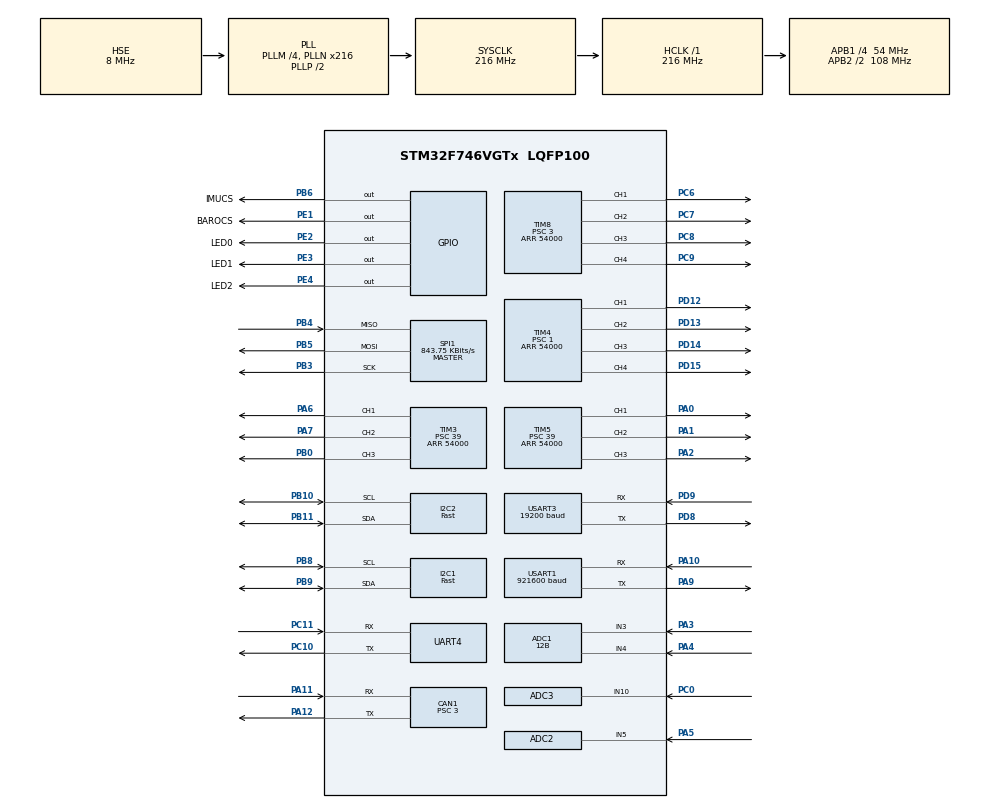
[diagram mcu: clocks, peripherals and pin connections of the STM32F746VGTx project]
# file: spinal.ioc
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Dma.USART1_TX.2.Direction=DMA_MEMORY_TO_PERIPH
NVIC.CAN1_RX1_IRQn=true\:6\:0\:true\:true\:true\:1\:false\:true\:true
CAN1.NART=ENABLE
Dma.USART3_RX.1.Mode=DMA_CIRCULAR
PE4.GPIO_ModeDefaultOutputPP=GPIO_MODE_OUTPUT_OD
I2C1.I2C_Speed_Mode=I2C_Fast
SPI1.VirtualType=VM_MASTER
PB10.Mode=I2C
USART1.WordLength=WORDLENGTH_8B
CORTEX_M7.PREFETCH_ENABLE=1
PB6.GPIO_Label=IMUCS
TIM8.Channel-PWM\ Generation4\ CH4=TIM_CHANNEL_4
RCC.SYSCLKSource=RCC_SYSCLKSOURCE_PLLCLK
USART3.VirtualMode-Asynchronous=VM_ASYNC
USART3.BaudRate=19200
Dma.USART3_RX.1.Instance=DMA1_Stream1
SPI1.Direction=SPI_DIRECTION_2LINES
I2C2.I2C_Speed_Mode=I2C_Fast
RCC.APB2TimFreq_Value=216000000
TIM4.Pulse-PWM\ Generation1\ CH1=10000
TIM4.OCMode_PWM-PWM\ Generation1\ CH1=TIM_OCMODE_PWM1
PB6.Signal=GPIO_Output
PC7.Signal=S_TIM8_CH2
ADC1.InjNumberOfConversion=0
PH1/OSC_OUT.Signal=RCC_OSC_OUT
SPI1.CalculateBaudRate=843.75 KBits/s
PD8.Signal=USART3_TX
PE1.Signal=GPIO_Output
ADC2.EOCSelection=ADC_EOC_SINGLE_CONV
TIM3.Pulse-PWM\ Generation3\ CH3=5400
NVIC.TIM1_TRG_COM_TIM11_IRQn=true\:0\:0\:false\:false\:true\:false\:false\:true
TIM4.Channel-PWM\ Generation3\ CH3=TIM_CHANNEL_3
PB3.Mode=Full_Duplex_Master
ADC1.ScanConvMode=ADC_SCAN_DISABLE
Dma.USART3_RX.1.Priority=DMA_PRIORITY_HIGH
SPI1.DataSize=SPI_DATASIZE_8BIT
PE4.GPIO_Label=LED2
ADC2.EnableAnalogWatchDog=false
SH.S_TIM4_CH2.0=TIM4_CH2,PWM Generation2 CH2
PE2.Signal=GPIO_Output
TIM4.Period=54000
Dma.USART1_TX.2.MemDataAlignment=DMA_MDATAALIGN_BYTE
VP_FREERTOS_VS_CMSIS_V1.Mode=CMSIS_V1
ADC1.SamplingTime-0\#ChannelRegularConversion=ADC_SAMPLETIME_3CYCLES
CAN1.Prescaler=3
Mcu.Package=LQFP100
PB9.Signal=I2C1_SDA
TIM2.Prescaler=53
Dma.USART3_RX.1.FIFOMode=DMA_FIFOMODE_DISABLE
TIM8.Channel-PWM\ Generation3\ CH3=TIM_CHANNEL_3
SH.S_TIM8_CH4.0=TIM8_CH4,PWM Generation4 CH4
NVIC.TimeBase=TIM1_TRG_COM_TIM11_IRQn
Dma.USART3_RX.1.Direction=DMA_PERIPH_TO_MEMORY
PD12.Signal=S_TIM4_CH1
ADC3.Rank-0\#ChannelRegularConversion=1
NVIC.TimeBaseIP=TIM11
PA10.Signal=USART1_RX
PC11.Mode=Asynchronous
RCC.APB2CLKDivider=RCC_HCLK_DIV2
SH.S_TIM4_CH1.0=TIM4_CH1,PWM Generation1 CH1
RCC.APB1TimFreq_Value=108000000
TIM3.Pulse-PWM\ Generation2\ CH2=5400
ADC2.Rank-2\#ChannelRegularConversion=1
NVIC.USART1_IRQn=true\:6\:0\:true\:true\:true\:3\:false\:true\:true
TIM4.Channel-PWM\ Generation4\ CH4=TIM_CHANNEL_4
CAN1.CalculateTimeBit=1000
ADC1.EOCSelection=ADC_EOC_SINGLE_CONV
PD15.Signal=S_TIM4_CH4
TIM4.Pulse-PWM\ Generation2\ CH2=20000
ADC2.ScanConvMode=ADC_SCAN_DISABLE
CAN1.CalculateTimeQuantum=55.55555555555556
SH.S_TIM8_CH3.0=TIM8_CH3,PWM Generation3 CH3
FREERTOS.Tasks01=defaultTask,-3,128,StartDefaultTask,As weak,NULL,Dynamic,NULL,NULL;rosSpin,0,128,rosSpinTask,As weak,NULL,Dynamic,NULL,NULL;rosPublish,-1,128,rosPublishTask,As weak,NULL,Dynamic,NULL,NULL;coreProcess,3,256,coreTask,As weak,NULL,Dynamic,NULL,NULL;canRx,3,256,canRxTask,As weak,NULL,Dynamic,NULL,NULL;voltage,-2,128,voltageTask,As weak,NULL,Dynamic,NULL,NULL
ADC1.Rank-0\#ChannelRegularConversion=1
TIM4.CounterMode=TIM_COUNTERMODE_CENTERALIGNED1
Dma.USART1_TX.2.MemInc=DMA_MINC_ENABLE
PB6.GPIO_PuPd=GPIO_PULLUP
PC6.Signal=S_TIM8_CH1
Dma.USART3_RX.1.MemDataAlignment=DMA_MDATAALIGN_BYTE
PE1.GPIO_PuPd=GPIO_PULLDOWN
TIM5.Channel-PWM\ Generation3\ CH3=TIM_CHANNEL_3
ADC1.ExternalTrigConvEdge=ADC_EXTERNALTRIGCONVEDGE_NONE
PC0.Signal=ADCx_IN10
RCC.APB1CLKDivider=RCC_HCLK_DIV4
SH.S_TIM8_CH2.0=TIM8_CH2,PWM Generation2 CH2
USART3.OverSampling=UART_OVERSAMPLING_16
TIM3.Channel-PWM\ Generation3\ CH3=TIM_CHANNEL_3
TIM3.Pulse-PWM\ Generation1\ CH1=5400
PB11.Mode=I2C
ADC2.ContinuousConvMode=DISABLE
CORTEX_M7.ART_ACCLERATOR_ENABLE=1
Dma.USART1_RX.0.Direction=DMA_PERIPH_TO_MEMORY
PA9.Signal=USART1_TX
I2C1.Timing=0x6000030D
VP_TIM8_VS_ClockSourceINT.Mode=Internal
PD8.Mode=Asynchronous
Dma.USART1_RX.0.PeriphInc=DMA_PINC_DISABLE
PB10.Signal=I2C2_SCL
PA5.Signal=ADCx_IN5
SH.S_TIM8_CH1.0=TIM8_CH1,PWM Generation1 CH1
PE1.GPIO_Label=BAROCS
Dma.USART1_TX.2.FIFOMode=DMA_FIFOMODE_DISABLE
ADC2.Channel-2\#ChannelRegularConversion=ADC_CHANNEL_5
USART3.WordLength=WORDLENGTH_8B
SPI1.Mode=SPI_MODE_MASTER
SH.ADCx_IN4.0=ADC1_IN4,IN4
ADC1.DMAContinuousRequests=DISABLE
TIM2.Period=40000
PA13.Mode=Serial_Wire
ADC2.Resolution=ADC_RESOLUTION_12B
CAN1.SJW=CAN_SJW_1TQ
TIM8.Period=54000
TIM5.Channel-PWM\ Generation2\ CH2=TIM_CHANNEL_2
PA4.Signal=ADCx_IN4
FREERTOS.configLIBRARY_MAX_SYSCALL_INTERRUPT_PRIORITY=5
PB5.Signal=SPI1_MOSI
ADC1.master=1
RCC.USART1CLockSelection=RCC_USART1CLKSOURCE_SYSCLK
ADC2.NbrOfConversionFlag=1
PE3.GPIO_Speed=GPIO_SPEED_FREQ_MEDIUM
PE3.GPIO_ModeDefaultOutputPP=GPIO_MODE_OUTPUT_OD
USART1.VirtualMode=VM_ASYNC
PA11.Signal=CAN1_RX
TIM5.Channel-PWM\ Generation1\ CH1=TIM_CHANNEL_1
ProjectManager.HeapSize=0x400
FREERTOS.Timers01=CoreTimer,coreEvokeCallback,osTimerPeriodic,As weak,NULL,Dynamic,NULL
VP_TIM4_VS_ClockSourceINT.Mode=Internal
SH.ADCx_IN5.0=ADC2_IN5,IN5
FREERTOS.Mutexes01=rosPubMutex,Dynamic,NULL;flightControlMutex,Dynamic,NULL
NVIC.PriorityGroup=NVIC_PRIORITYGROUP_4
TIM3.Channel-PWM\ Generation2\ CH2=TIM_CHANNEL_2
Dma.USART1_TX.2.Instance=DMA2_Stream7
PB8.Mode=I2C
PE3.Signal=GPIO_Output
PB6.GPIO_Speed=GPIO_SPEED_FREQ_HIGH
PB0.Signal=S_TIM3_CH3
RCC.USART3CLockSelection=RCC_USART3CLKSOURCE_SYSCLK
TIM8.CounterMode=TIM_COUNTERMODE_CENTERALIGNED1
Mcu.Family=STM32F7
RCC.CortexFreq_Value=216000000
FREERTOS.BinarySemaphores01=CoreProcessSem,Dynamic,NULL;Uart1TxSem,Dynamic,NULL
ADC1.ContinuousConvMode=DISABLE
USART1.BaudRate=921600
PC10.Signal=UART4_TX
TIM8.Pulse-PWM\ Generation1\ CH1=10000
I2C2.Timing=0x6000030D
PE2.GPIO_Speed=GPIO_SPEED_FREQ_MEDIUM
SH.S_TIM5_CH2.0=TIM5_CH2,PWM Generation2 CH2
PA11.Mode=Master
PA0/WKUP.Signal=S_TIM5_CH1
PB11.Signal=I2C2_SDA
ADC3.Channel-0\#ChannelRegularConversion=ADC_CHANNEL_10
ADC2.DiscontinuousConvMode=DISABLE
PD9.Mode=Asynchronous
ProjectManager.StackSize=0x200
PD13.Signal=S_TIM4_CH2
PA12.Signal=CAN1_TX
Dma.USART3_RX.1.MemInc=DMA_MINC_ENABLE
ADC2.DMAContinuousRequests=DISABLE
PH0/OSC_IN.Mode=HSE-External-Oscillator
RCC.HCLKFreq_Value=216000000
SH.ADCx_IN3.0=ADC1_IN3,IN3
TIM8.Channel-PWM\ Generation1\ CH1=TIM_CHANNEL_1
ADC1.Resolution=ADC_RESOLUTION_12B
TIM3.Period=54000
Dma.USART3_RX.1.PeriphDataAlignment=DMA_PDATAALIGN_BYTE
SH.S_TIM5_CH3.0=TIM5_CH3,PWM Generation3 CH3
RCC.AHBFreq_Value=216000000
Dma.USART1_RX.0.Priority=DMA_PRIORITY_VERY_HIGH
TIM3.Channel-PWM\ Generation1\ CH1=TIM_CHANNEL_1
ADC1.Channel-0\#ChannelRegularConversion=ADC_CHANNEL_4
RCC.HSE_VALUE=8000000
FREERTOS.configUSE_TIMERS=1
PE2.GPIO_ModeDefaultOutputPP=GPIO_MODE_OUTPUT_OD
PB4.Mode=Full_Duplex_Master
PA14.Mode=Serial_Wire
PE4.GPIO_Speed=GPIO_SPEED_FREQ_MEDIUM
TIM3.Prescaler=39
PB5.Mode=Full_Duplex_Master
Dma.USART1_TX.2.PeriphDataAlignment=DMA_PDATAALIGN_BYTE
SH.S_TIM3_CH1.0=TIM3_CH1,PWM Generation1 CH1
Dma.USART1_RX.0.MemInc=DMA_MINC_ENABLE
PE4.Signal=GPIO_Output
PH1/OSC_OUT.Mode=HSE-External-Oscillator
FREERTOS.configTIMER_TASK_PRIORITY=6
FREERTOS.configTOTAL_HEAP_SIZE=20480
TIM8.Pulse-PWM\ Generation2\ CH2=10000
PA6.Signal=S_TIM3_CH1
NVIC.DMA2_Stream7_IRQn=true\:6\:0\:true\:true\:true\:2\:true\:true\:true
TIM8.Channel-PWM\ Generation2\ CH2=TIM_CHANNEL_2
TIM8.Prescaler=3
Dma.USART1_RX.0.FIFOMode=DMA_FIFOMODE_DISABLE
ADC2.SamplingTime-2\#ChannelRegularConversion=ADC_SAMPLETIME_84CYCLES
ADC2.NbrOfConversion=1
Dma.Request2=USART1_TX
Dma.Request1=USART3_RX
SH.S_TIM5_CH1.0=TIM5_CH1,PWM Generation1 CH1
Dma.USART1_RX.0.Mode=DMA_CIRCULAR
Dma.Request0=USART1_RX
SPI1.BaudRatePrescaler=SPI_BAUDRATEPRESCALER_128
PE2.GPIO_Label=LED0
Dma.USART1_RX.0.Instance=DMA2_Stream2
VP_TIM3_VS_ClockSourceINT.Mode=Internal
PB4.Signal=SPI1_MISO
PA3.Signal=ADCx_IN3
RCC.PLLSourceVirtual=RCC_PLLSOURCE_HSE
TIM4.Channel-PWM\ Generation1\ CH1=TIM_CHANNEL_1
I2C1.Speed=400
CORTEX_M7.CPU_ICache=Enabled
USART3.OneBitSampling=UART_ONE_BIT_SAMPLE_DISABLE
Dma.USART1_RX.0.PeriphDataAlignment=DMA_PDATAALIGN_BYTE
PA10.Mode=Asynchronous
SH.S_TIM4_CH4.0=TIM4_CH4,PWM Generation4 CH4
PC11.Signal=UART4_RX
PC8.Signal=S_TIM8_CH3
PC10.Mode=Asynchronous
ADC1.DiscontinuousConvMode=DISABLE
PD9.Signal=USART3_RX
SH.S_TIM3_CH3.0=TIM3_CH3,PWM Generation3 CH3
USART1.VirtualMode-Asynchronous=VM_ASYNC
PA13.Signal=SYS_JTMS-SWDIO
PA9.Mode=Asynchronous
ADC3.SamplingTime-0\#ChannelRegularConversion=ADC_SAMPLETIME_3CYCLES
CAN1.BS2=CAN_BS2_3TQ
CAN1.BS1=CAN_BS1_14TQ
ProjectManager.TargetToolchain=STM32CubeIDE
SH.S_TIM4_CH3.0=TIM4_CH3,PWM Generation3 CH3
PB9.Mode=I2C
RCC.USBFreq_Value=216000000
TIM4.Prescaler=1
CORTEX_M7.FlashInterface=TCM_Enabled
RCC.LSE_VALUE=32768
PA1.Signal=S_TIM5_CH2
SH.S_TIM3_CH2.0=TIM3_CH2,PWM Generation2 CH2
board=spinal
RCC.VCOOutputFreq_Value=432000000
ADC1.EnableAnalogWatchDog=false
ADC2.DataAlign=ADC_DATAALIGN_RIGHT
PH0/OSC_IN.Signal=RCC_OSC_IN
TIM4.Channel-PWM\ Generation2\ CH2=TIM_CHANNEL_2
RCC.APB2Freq_Value=108000000
VP_TIM2_VS_ClockSourceINT.Mode=Internal
Dma.USART1_TX.2.Priority=DMA_PRIORITY_VERY_HIGH
Dma.USART1_RX.0.MemDataAlignment=DMA_MDATAALIGN_BYTE
ADC1.NbrOfConversion=1
I2C2.Speed=400
Mcu.Name=STM32F746VGTx
VP_SYS_VS_tim11.Mode=TIM11
PA2.Signal=S_TIM5_CH3
Dma.USART1_TX.2.PeriphInc=DMA_PINC_DISABLE
PD14.Signal=S_TIM4_CH3
PB3.Signal=SPI1_SCK
RCC.SYSCLKFreq_VALUE=216000000
PA12.Mode=Master
TIM5.Prescaler=39
USART3.VirtualMode=VM_ASYNC
PA14.Signal=SYS_JTCK-SWCLK
SH.ADCx_IN10.0=ADC3_IN10,IN10
Dma.USART1_TX.2.Mode=DMA_NORMAL
RCC.HSI_VALUE=16000000
ADC2.ExternalTrigConvEdge=ADC_EXTERNALTRIGCONVEDGE_NONE
ADC1.NbrOfConversionFlag=1
RCC.PLLM=4
RCC.PLLN=216
PB8.Signal=I2C1_SCL
PE3.GPIO_Label=LED1
TIM5.Period=54000
PC9.Signal=S_TIM8_CH4
CORTEX_M7.CPU_DCache=Enabled
ADC1.DataAlign=ADC_DATAALIGN_RIGHT
RCC.APB1Freq_Value=54000000
ADC3.NbrOfConversionFlag=1
ADC1.ClockPrescaler=ADC_CLOCK_SYNC_PCLK_DIV4
ADC2.InjNumberOfConversion=0
Dma.USART3_RX.1.PeriphInc=DMA_PINC_DISABLE
PA7.Signal=S_TIM3_CH2

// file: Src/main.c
/* USER CODE BEGIN Header */
/**
  ******************************************************************************
  * @file           : main.c
  * @brief          : Main program body
  ******************************************************************************
  * @attention
  *
  * <h2><center>&copy; Copyright (c) 2021 STMicroelectronics.
  * All rights reserved.</center></h2>
  *
  * This software component is licensed by ST under BSD 3-Clause license,
  * the "License"; You may not use this file except in compliance with the
  * License. You may obtain a copy of the License at:
  *                        opensource.org/licenses/BSD-3-Clause
  *
  ******************************************************************************
  */
/* USER CODE END Header */
#include "main.h"
#include "cmsis_os.h"
#include "adc.h"
#include "can.h"
#include "dma.h"
#include "i2c.h"
#include "spi.h"
#include "tim.h"
#include "usart.h"
#include "gpio.h"

/* USER CODE BEGIN Includes */
/* common setting for this board */
#include "config.h"

/* ros communication interface between board and PC */
#include <ros.h>

#include "flashmemory/flashmemory.h"

/* Sensors */
#if IMU_FLAG
#include "sensors/imu/imu_ros_cmd.h"
#include "sensors/imu/imu_mpu9250.h"
#endif

#if BARO_FLAG
#include "sensors/baro/baro_ms5611.h"
#endif

#if GPS_FLAG
#include "sensors/gps/gps_ublox.h"
#endif

#include "sensors/encoder/mag_encoder.h"

/* State Estimate, including attitude, altitude and pos */
#if ATTITUDE_ESTIMATE_FLAG || HEIGHT_ESTIMATE_FLAG || POS_ESTIMATE_FLAG
#include "state_estimate/state_estimate.h"
#endif

/* State Estimate, including attitude, altitude and pos */
#if FLIGHT_CONTROL_FLAG
#include "flight_control/flight_control.h"
#endif

/* Battery Status */
#include "battery_status/battery_status.h"

/* Extra Servo */
#include "extra_servo/extra_servo.h"

/* Internal Communication System */
#include <Spine/spine.h>

/* USER CODE END Includes */

/* USER CODE BEGIN PV */
bool start_processing_flag_ = false; //to prevent systick_callback starting  beforeinit() processes

ros::NodeHandle nh_;

#if IMU_FLAG
IMUOnboard imu_;
#endif

#if BARO_FLAG
Baro baro_;
#endif

#if GPS_FLAG
GPS gps_;
#endif

MagEncoder encoder_;

#if ATTITUDE_ESTIMATE_FLAG || HEIGHT_ESTIMATE_FLAG || POS_ESTIMATE_FLAG
StateEstimate estimator_;
#endif

#if FLIGHT_CONTROL_FLAG
BatteryStatus battery_status_;
FlightControl controller_;
ExtraServo extra_servo_;
#endif

// defined in Src/freertos.c
extern osSemaphoreId CoreProcessSemHandle;
extern osSemaphoreId Uart1TxSemHandle;
extern osMailQId canMsgMailHandle;
extern osMutexId rosPubMutexHandle;
extern osMutexId flightControlMutexHandle;

extern "C"
{
/* USER CODE END PV */

void SystemClock_Config(void);
void MX_FREERTOS_Init(void);
static void MX_NVIC_Init(void);
/* USER CODE BEGIN PFP */

  // timer callback to evoke coreTask at 1KHz
  void coreEvokeCallback(void const * argument)
  {
    /*
      We need to create another indipendent task to run the core function (following coreTask),
      since block action in timer callback function is not allowed.
    */
    osSemaphoreRelease (CoreProcessSemHandle);
  }

  // main subrutine for update enach instance
  void coreTask(void const * argument)
  {
    for(;;)
      {
        // RTOS semephre
        osSemaphoreWait(CoreProcessSemHandle, osWaitForever);

        if(!start_processing_flag_) return;

#if NERVE_COMM
        Spine::send();
#endif

        /* sensors */
#if IMU_FLAG
        imu_.update();
#endif

#if BARO_FLAG
        baro_.update();
#endif

#if GPS_FLAG
        gps_.update();
#endif

        encoder_.update();

        /* state estimate */
#if (ATTITUDE_ESTIMATE_FLAG || HEIGHT_ESTIMATE_FLAG || POS_ESTIMATE_FLAG)
        estimator_.update();
#endif

#if FLIGHT_CONTROL_FLAG
        controller_.update();
#endif

#if NERVE_COMM
        Spine::update();
#endif
      }
  }

  void rosSpinTask(void const * argument)
  {
    for(;;)
      {
        /* ros spin means to get data from UART RX ring buffer and to call callback functions  */
        if(nh_.spinOnce() == ros::SPIN_UNAVAILABLE)
          {
            /* if no data in ring buffer, we kindly sleep for 1ms */
            osDelay(1);
          }
      }
  }

  /*
   * We set a lower priority for publish task than rosSpinTask
   * Since,  UART_Transmit needs a timeout to wait for the flag of UART TX to be ready (about 2 ms for about 100bytes)
   * - HAL_UART_Transmit(tx_huart_, tx_buffer_unit_[subscript_in_progress_].tx_data_, tx_buffer_unit_[subscript_in_progress_].tx_len_, 2);
   * TODO: use DMA to send UART TX
   */
  void rosPublishTask(void const * argument)
  {
    for(;;)
      {
        /* publish one message from ring buffer */
        if(nh_.publish() == BUFFER_EMPTY)
          {
            /* if no messages in ring buffer, we kindly sleep for 1ms */
            osDelay(1);
          }
      }
  }

#if 0
  void StartDefaultTask(void const * argument)
  {
    for(;;)
      {
        osDelay(1000);
        LED2_H;
        osDelay(1000);
        LED2_L;
      }
  }
#endif

#if FLIGHT_CONTROL_FLAG
  void voltageTask(void const * argument)
  {
    for(;;)
      {
        battery_status_.update();
        osDelay(VOLTAGE_CHECK_INTERVAL);
      }
  }
#endif

}

/* USER CODE END PFP */

int main(void)
{

  /* Enable I-Cache---------------------------------------------------------*/
  SCB_EnableICache();

  /* Enable D-Cache---------------------------------------------------------*/
  SCB_EnableDCache();

  /* MCU Configuration--------------------------------------------------------*/

  /* Reset of all peripherals, Initializes the Flash interface and the Systick. */
  HAL_Init();

  /* Configure the system clock */
  SystemClock_Config();

  /* Initialize all configured peripherals */
  MX_GPIO_Init();
  MX_DMA_Init();
  MX_ADC1_Init();
  MX_ADC2_Init();
  MX_ADC3_Init();
  MX_CAN1_Init();
  MX_I2C1_Init();
  MX_SPI1_Init();
  MX_TIM4_Init();
  MX_TIM8_Init();
  MX_USART1_UART_Init();
  MX_USART3_UART_Init();
  MX_I2C2_Init();
  MX_UART4_Init();
  MX_TIM2_Init();
  MX_TIM3_Init();
  MX_TIM5_Init();

  /* Initialize interrupts */
  MX_NVIC_Init();
  /* USER CODE BEGIN 2 */
  /* ROS Interface between board and PC */
  nh_.initNode(&huart1, &rosPubMutexHandle, &Uart1TxSemHandle);

  /* Flash Memory */
  FlashMemory::init(0x08080000, FLASH_SECTOR_6);

  /* Sensors */
#if IMU_FLAG
  /* we need to put IMU second, because of the unknown reason abou the ublox m8n compass/gps disconnect problem */
  imu_.init(&hspi1, &hi2c2, &nh_);
  IMU_ROS_CMD::init(&nh_);
  IMU_ROS_CMD::addImu(&imu_);
#endif

#if BARO_FLAG
  baro_.init(&hi2c1, &nh_);
#endif

  /* State Estimation */
#if ATTITUDE_ESTIMATE_FLAG //imu condition

#if HEIGHT_ESTIMATE_FLAG // baro condition

#if POS_ESTIMATE_FLAG // gps condition
  estimator_.init(&imu_, &baro_, &gps_, &nh_);  // imu + baro + gps => att + alt + pos(xy)
#else  //gps condition
  estimator_.init(&imu_, &baro_, NULL, &nh_);  // imu + baro  => att + alt
#endif // gps condition

#else // baro condition
  estimator_.init(&imu_, NULL, NULL, &nh_);  // imu  => att
#endif  // baro condition

#endif // imu condition

  /* Extra Servo Control */
  extra_servo_.init(&htim3, &htim5, &nh_);

  /* Magnetic Encoder */
  encoder_.init(&hi2c2, &nh_);

#if NERVE_COMM
  /* NERVE */
  Spine::init(&hcan1, &nh_, &estimator_, GPIOE, GPIO_PIN_3);
#endif

#if FLIGHT_CONTROL_FLAG
  /* BATTERY_STATUS */
  battery_status_.init(&hadc2, &nh_);
  /* Start Attitude Control */
  controller_.init(&htim4, &htim8, &estimator_, &battery_status_, &nh_, &flightControlMutexHandle);

#if NERVE_COMM
  controller_.setUavModel(Spine::getUavModel());
  controller_.setMotorNumber(Spine::getSlaveNum());
#endif

#if GPS_FLAG
  gps_.init(&huart3, &nh_);
#endif

#endif

  FlashMemory::read(); //IMU calib data (including IMU in neurons)

  start_processing_flag_ = true;
  uint32_t now_time = HAL_GetTick();

  Spine::useRTOS(&canMsgMailHandle); // use RTOS for CAN in spianl
  /* USER CODE END 2 */

  /* Call init function for freertos objects (in freertos.c) */
  MX_FREERTOS_Init();
  /* Start scheduler */
  osKernelStart();

  /* We should never get here as control is now taken by the scheduler */
  /* Infinite loop */
  while (1)
  {

  }
}

void SystemClock_Config(void)
{
  RCC_OscInitTypeDef RCC_OscInitStruct = {0};
  RCC_ClkInitTypeDef RCC_ClkInitStruct = {0};
  RCC_PeriphCLKInitTypeDef PeriphClkInitStruct = {0};

  /** Configure the main internal regulator output voltage
  */
  __HAL_RCC_PWR_CLK_ENABLE();
  __HAL_PWR_VOLTAGESCALING_CONFIG(PWR_REGULATOR_VOLTAGE_SCALE1);
  /** Initializes the RCC Oscillators according to the specified parameters
  * in the RCC_OscInitTypeDef structure.
  */
  RCC_OscInitStruct.OscillatorType = RCC_OSCILLATORTYPE_HSE;
  RCC_OscInitStruct.HSEState = RCC_HSE_ON;
  RCC_OscInitStruct.PLL.PLLState = RCC_PLL_ON;
  RCC_OscInitStruct.PLL.PLLSource = RCC_PLLSOURCE_HSE;
  RCC_OscInitStruct.PLL.PLLM = 4;
  RCC_OscInitStruct.PLL.PLLN = 216;
  RCC_OscInitStruct.PLL.PLLP = RCC_PLLP_DIV2;
  RCC_OscInitStruct.PLL.PLLQ = 2;
  if (HAL_RCC_OscConfig(&RCC_OscInitStruct) != HAL_OK)
  {
    Error_Handler();
  }
  /** Activate the Over-Drive mode
  */
  if (HAL_PWREx_EnableOverDrive() != HAL_OK)
  {
    Error_Handler();
  }
  /** Initializes the CPU, AHB and APB buses clocks
  */
  RCC_ClkInitStruct.ClockType = RCC_CLOCKTYPE_HCLK|RCC_CLOCKTYPE_SYSCLK
                              |RCC_CLOCKTYPE_PCLK1|RCC_CLOCKTYPE_PCLK2;
  RCC_ClkInitStruct.SYSCLKSource = RCC_SYSCLKSOURCE_PLLCLK;
  RCC_ClkInitStruct.AHBCLKDivider = RCC_SYSCLK_DIV1;
  RCC_ClkInitStruct.APB1CLKDivider = RCC_HCLK_DIV4;
  RCC_ClkInitStruct.APB2CLKDivider = RCC_HCLK_DIV2;

  if (HAL_RCC_ClockConfig(&RCC_ClkInitStruct, FLASH_LATENCY_7) != HAL_OK)
  {
    Error_Handler();
  }
  PeriphClkInitStruct.PeriphClockSelection = RCC_PERIPHCLK_USART1|RCC_PERIPHCLK_USART3
                              |RCC_PERIPHCLK_UART4|RCC_PERIPHCLK_I2C1
                              |RCC_PERIPHCLK_I2C2;
  PeriphClkInitStruct.Usart1ClockSelection = RCC_USART1CLKSOURCE_SYSCLK;
  PeriphClkInitStruct.Usart3ClockSelection = RCC_USART3CLKSOURCE_SYSCLK;
  PeriphClkInitStruct.Uart4ClockSelection = RCC_UART4CLKSOURCE_PCLK1;
  PeriphClkInitStruct.I2c1ClockSelection = RCC_I2C1CLKSOURCE_PCLK1;
  PeriphClkInitStruct.I2c2ClockSelection = RCC_I2C2CLKSOURCE_PCLK1;
  if (HAL_RCCEx_PeriphCLKConfig(&PeriphClkInitStruct) != HAL_OK)
  {
    Error_Handler();
  }
}

/**
  * @brief NVIC Configuration.
  * @retval None
  */
static void MX_NVIC_Init(void)
{
  /* CAN1_RX1_IRQn interrupt configuration */
  HAL_NVIC_SetPriority(CAN1_RX1_IRQn, 6, 0);
  HAL_NVIC_EnableIRQ(CAN1_RX1_IRQn);
  /* DMA2_Stream7_IRQn interrupt configuration */
  HAL_NVIC_SetPriority(DMA2_Stream7_IRQn, 6, 0);
  HAL_NVIC_EnableIRQ(DMA2_Stream7_IRQn);
  /* USART1_IRQn interrupt configuration */
  HAL_NVIC_SetPriority(USART1_IRQn, 6, 0);
  HAL_NVIC_EnableIRQ(USART1_IRQn);
}

void HAL_TIM_PeriodElapsedCallback(TIM_HandleTypeDef *htim)
{
  if (htim->Instance == TIM11) {
    HAL_IncTick();
  }
}

void Error_Handler(void)
{
}

/************************ (C) COPYRIGHT STMicroelectronics *****END OF FILE****/

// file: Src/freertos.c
/* USER CODE BEGIN Header */
/**
  ******************************************************************************
  * File Name          : freertos.c
  * Description        : Code for freertos applications
  ******************************************************************************
  * @attention
  *
  * <h2><center>&copy; Copyright (c) 2021 STMicroelectronics.
  * All rights reserved.</center></h2>
  *
  * This software component is licensed by ST under Ultimate Liberty license
  * SLA0044, the "License"; You may not use this file except in compliance with
  * the License. You may obtain a copy of the License at:
  *                             www.st.com/SLA0044
  *
  ******************************************************************************
  */
/* USER CODE END Header */

#include "FreeRTOS.h"
#include "task.h"
#include "main.h"
#include "cmsis_os.h"

/* USER CODE BEGIN Includes */
#include "config.h"
#include <stdbool.h>
/* USER CODE END Includes */

/* USER CODE BEGIN PTD */
typedef struct // same type defined in can_device_manager.h whcih has C++ description thus cannot loaded in this C file
{
  CAN_RxHeaderTypeDef rx_header;
  uint8_t rx_data[8];
} can_msg;

/* USER CODE END PTD */

/* USER CODE BEGIN Variables */
osMailQId canMsgMailHandle;
/* USER CODE END Variables */
osThreadId defaultTaskHandle;
osThreadId rosSpinHandle;
osThreadId rosPublishHandle;
osThreadId coreProcessHandle;
osThreadId canRxHandle;
osThreadId voltageHandle;
osTimerId CoreTimerHandle;
osMutexId rosPubMutexHandle;
osMutexId flightControlMutexHandle;
osSemaphoreId CoreProcessSemHandle;
osSemaphoreId Uart1TxSemHandle;

void StartDefaultTask(void const * argument);
void rosSpinTask(void const * argument);
void rosPublishTask(void const * argument);
void coreTask(void const * argument);
void canRxTask(void const * argument);
void voltageTask(void const * argument);
void coreEvokeCallback(void const * argument);

void MX_FREERTOS_Init(void); /* (MISRA C 2004 rule 8.1) */

/* GetIdleTaskMemory prototype (linked to static allocation support) */
void vApplicationGetIdleTaskMemory( StaticTask_t **ppxIdleTaskTCBBuffer, StackType_t **ppxIdleTaskStackBuffer, uint32_t *pulIdleTaskStackSize );

/* GetTimerTaskMemory prototype (linked to static allocation support) */
void vApplicationGetTimerTaskMemory( StaticTask_t **ppxTimerTaskTCBBuffer, StackType_t **ppxTimerTaskStackBuffer, uint32_t *pulTimerTaskStackSize );

/* USER CODE BEGIN GET_IDLE_TASK_MEMORY */
static StaticTask_t xIdleTaskTCBBuffer;
static StackType_t xIdleStack[configMINIMAL_STACK_SIZE];

void vApplicationGetIdleTaskMemory( StaticTask_t **ppxIdleTaskTCBBuffer, StackType_t **ppxIdleTaskStackBuffer, uint32_t *pulIdleTaskStackSize )
{
  *ppxIdleTaskTCBBuffer = &xIdleTaskTCBBuffer;
  *ppxIdleTaskStackBuffer = &xIdleStack[0];
  *pulIdleTaskStackSize = configMINIMAL_STACK_SIZE;
  /* place for user code */
}
/* USER CODE END GET_IDLE_TASK_MEMORY */

/* USER CODE BEGIN GET_TIMER_TASK_MEMORY */
static StaticTask_t xTimerTaskTCBBuffer;
static StackType_t xTimerStack[configTIMER_TASK_STACK_DEPTH];

void vApplicationGetTimerTaskMemory( StaticTask_t **ppxTimerTaskTCBBuffer, StackType_t **ppxTimerTaskStackBuffer, uint32_t *pulTimerTaskStackSize )
{
  *ppxTimerTaskTCBBuffer = &xTimerTaskTCBBuffer;
  *ppxTimerTaskStackBuffer = &xTimerStack[0];
  *pulTimerTaskStackSize = configTIMER_TASK_STACK_DEPTH;
  /* place for user code */
}
/* USER CODE END GET_TIMER_TASK_MEMORY */

void MX_FREERTOS_Init(void) {
  /* Create the mutex(es) */
  /* definition and creation of rosPubMutex */
  osMutexDef(rosPubMutex);
  rosPubMutexHandle = osMutexCreate(osMutex(rosPubMutex));

  /* definition and creation of flightControlMutex */
  osMutexDef(flightControlMutex);
  flightControlMutexHandle = osMutexCreate(osMutex(flightControlMutex));

  /* Create the semaphores(s) */
  /* definition and creation of CoreProcessSem */
  osSemaphoreDef(CoreProcessSem);
  CoreProcessSemHandle = osSemaphoreCreate(osSemaphore(CoreProcessSem), 1);

  /* definition and creation of Uart1TxSem */
  osSemaphoreDef(Uart1TxSem);
  Uart1TxSemHandle = osSemaphoreCreate(osSemaphore(Uart1TxSem), 1);

  /* Create the timer(s) */
  /* definition and creation of CoreTimer */
  osTimerDef(CoreTimer, coreEvokeCallback);
  CoreTimerHandle = osTimerCreate(osTimer(CoreTimer), osTimerPeriodic, NULL);

  /* USER CODE BEGIN RTOS_TIMERS */
  /* start timers, add new ones, ... */
  osTimerStart(CoreTimerHandle, 1); // 1 ms (1kHz)
  /* USER CODE END RTOS_TIMERS */

  /* USER CODE BEGIN RTOS_QUEUES */
  /* add queues, ... */
  /* add mail queue for CAN RX */
  osMailQDef(CanMail, 20, can_msg); // defualt: 20 (in case of initializer sendBoardConfig (4 servo: 1 + 4 x 3 = 13 packets))
  canMsgMailHandle = osMailCreate(osMailQ(CanMail), NULL);
  /* USER CODE END RTOS_QUEUES */

  /* Create the thread(s) */
  /* definition and creation of defaultTask */
  osThreadDef(defaultTask, StartDefaultTask, osPriorityIdle, 0, 128);
  defaultTaskHandle = osThreadCreate(osThread(defaultTask), NULL);

  /* definition and creation of rosSpin */
  osThreadDef(rosSpin, rosSpinTask, osPriorityNormal, 0, 128);
  rosSpinHandle = osThreadCreate(osThread(rosSpin), NULL);

  /* definition and creation of rosPublish */
  osThreadDef(rosPublish, rosPublishTask, osPriorityBelowNormal, 0, 128);
  rosPublishHandle = osThreadCreate(osThread(rosPublish), NULL);

  /* definition and creation of coreProcess */
  osThreadDef(coreProcess, coreTask, osPriorityRealtime, 0, 256);
  coreProcessHandle = osThreadCreate(osThread(coreProcess), NULL);

  /* definition and creation of canRx */
  osThreadDef(canRx, canRxTask, osPriorityRealtime, 0, 256);
  canRxHandle = osThreadCreate(osThread(canRx), NULL);

  /* definition and creation of voltage */
  osThreadDef(voltage, voltageTask, osPriorityLow, 0, 128);
  voltageHandle = osThreadCreate(osThread(voltage), NULL);

}

__weak void StartDefaultTask(void const * argument)
{
  for(;;)
  {
    osDelay(1);
  }
}

__weak void rosSpinTask(void const * argument)
{
  for(;;)
  {
    osDelay(1);
  }
}

__weak void rosPublishTask(void const * argument)
{
  for(;;)
  {
    osDelay(1);
  }
}

__weak void coreTask(void const * argument)
{
  for(;;)
  {
    osDelay(1);
  }
}

__weak void canRxTask(void const * argument)
{
  for(;;)
  {
    osDelay(1);
  }
}

__weak void voltageTask(void const * argument)
{
  /* USER CODE BEGIN voltageTask */
  /* Infinite loop */
  for(;;)
  {
    osDelay(1000);
  }
  /* USER CODE END voltageTask */
}

/* coreEvokeCallback function */
__weak void coreEvokeCallback(void const * argument)
{
}

/************************ (C) COPYRIGHT STMicroelectronics *****END OF FILE****/
